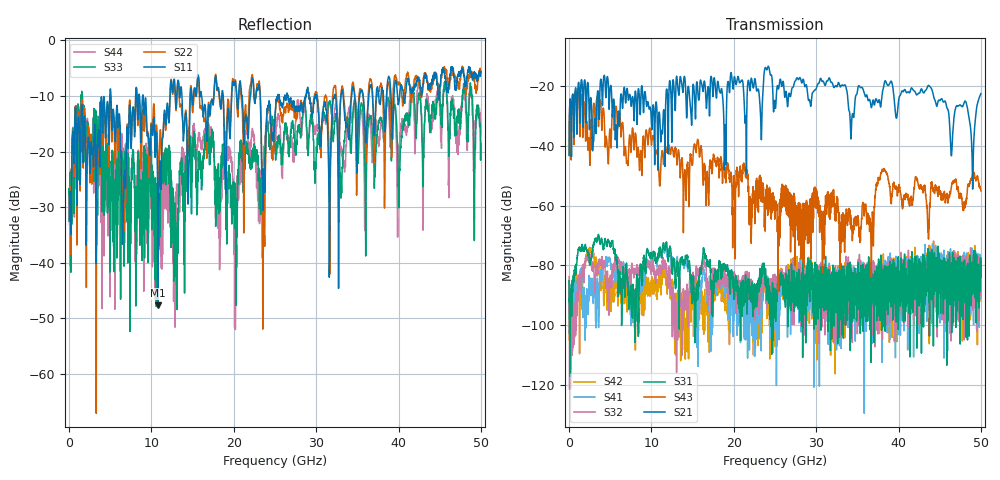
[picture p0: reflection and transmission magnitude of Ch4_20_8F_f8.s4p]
!Agilent Technologies,N5247A,US51170199,A.09.90.13
!Agilent N5247A: A.09.90.13
!Date: Monday, December 14, 2015 15:32:17
!Correction: S11(Full 4 Port(1,2,3,4))
!S12(Full 4 Port(1,2,3,4))
!S13(Full 4 Port(1,2,3,4))
!S14(Full 4 Port(1,2,3,4))
!S21(Full 4 Port(1,2,3,4))
!S22(Full 4 Port(1,2,3,4))
!S23(Full 4 Port(1,2,3,4))
!S24(Full 4 Port(1,2,3,4))
!S31(Full 4 Port(1,2,3,4))
!S32(Full 4 Port(1,2,3,4))
!S33(Full 4 Port(1,2,3,4))
!S34(Full 4 Port(1,2,3,4))
!S41(Full 4 Port(1,2,3,4))
!S42(Full 4 Port(1,2,3,4))
!S43(Full 4 Port(1,2,3,4))
!S44(Full 4 Port(1,2,3,4))
!S4P File: Measurements: <S11,S12,S13,S14>,
!<S21,S22,S23,S24>,
!<S31,S32,S33,S34>,
!<S41,S42,S43,S44>:
# Hz S  dB  R 50
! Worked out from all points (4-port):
!   3201 points, 10 MHz to 50 GHz, reference 50 ohm
!   strongest paths, dB at 10 MHz, 12.51 GHz, 25 GHz, 37.5 GHz, 50 GHz:
!     S21: -43.3, -27.9, -26.1, -25.6, -22.6
!     S43: -43.1, -40.7, -59.9, -52.2, -55.1
!     S31: -85.1, -82.1, -90.7, -81.9, -80.6
!     S32: -83.7, -91.8, -86.2, -102.8, -78.5
!     S41: -84.9, -78.0, -87.7, -83.8, -82.9
!     S42: -89.0, -87.9, -97.0, -86.3, -91.8
!   lowest |S11| = -47.7 dB at 10.8 GHz (marker M1), VSWR 1.01, Z = 50 + j0.41 ohm
!   |S11| at or under -10 dB: start of sweep to 4.951 GHz; 5.089 GHz to 8.083 GHz (2.995 GHz wide, 45.5 % of centre); 8.995 GHz to 12.26 GHz (3.264 GHz wide, 30.7 % of centre)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
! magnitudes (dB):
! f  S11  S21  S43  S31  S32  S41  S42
! 10 MHz  -32.6  -43.3  -43.1  -85.1  -83.7  -84.9  -89.0
! 4.087 GHz  -16.3  -24.2  -28.7  -72.9  -80.0  -80.3  -81.6
! 10.8 GHz  -47.7  -40.9  -44.7  -76.2  -81.9  -76.8  -86.4
! 12.59 GHz  -9.3  -18.9  -41.4  -80.1  -95.2  -77.2  -85.4
! 24.04 GHz  -12.4  -14.6  -57.9  -86.4  -86.9  -86.9  -89.7
! 48.98 GHz  -7.1  -52.7  -49.5  -82.1  -77.2  -90.6  -78.5
! 50 GHz  -5.7  -22.6  -55.1  -80.6  -78.5  -82.9  -91.8
